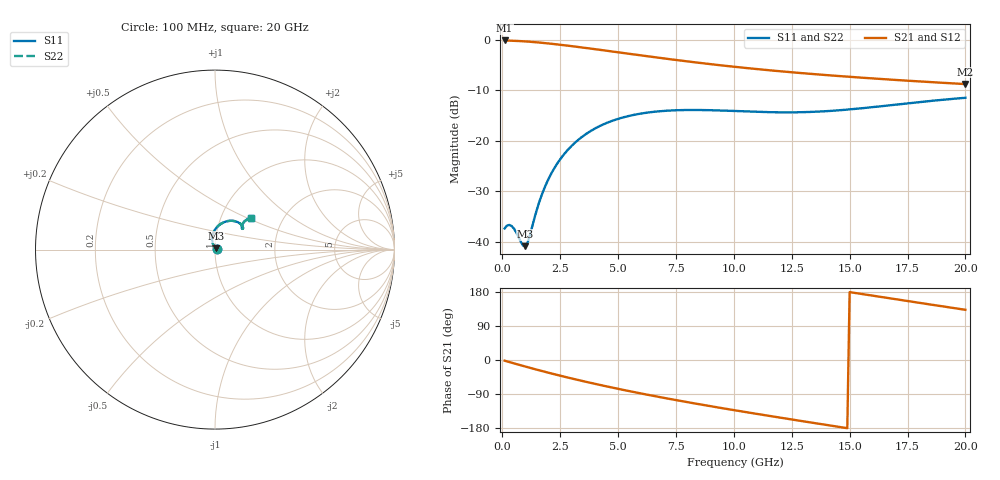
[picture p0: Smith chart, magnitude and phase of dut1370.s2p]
! Touchstone file exported from HFSS 2024.1.0
!  File:  C:/UserFiles/LocalFiles/RDL_TSV_Batchsim/temp_RDL_TSV_1370_1780398488.aedt
!  Generated:  07:21:53 PM Jun  2, 2026
!  Design:  RDL_TSV
!  Project:  temp_RDL_TSV_1370_1780398488
!  Setup:  Setup1
!  Solution:  Sweep
! Variables:
!  dtsv = 7.42um
!  hbump = 3um
!  htsv = 68.45um
!  ldown = 601.88um
!  lrdl = 446.49um
!  p = 40
!  p1 = 41.94um
!  rhole = 10um
!  subl = 3591.6um
!  t = 450um
!  tdown = 3.66um
!  trdl = 4.97um
!  viad = 10um
!  wdown = 29.47um
!  wrdl = 21.51um
!  xbump = 18um
# GHz S MA R 50.000000
! Terminal data exported
! Port[1] = TM1_1_T1
! Port[2] = TM1_4_T1
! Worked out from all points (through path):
!   200 points, 100 MHz to 20 GHz, reference 50 ohm
!   highest |S21| = -0.12 dB at 100 MHz (marker M1); lowest = -8.8 dB at 20 GHz (marker M2)
!   group delay of S21, straight-line fit = 30.2 ps
!   lowest |S11| = -40.9 dB at 1 GHz (marker M3), VSWR 1.02, Z = 50.5 + j0.778 ohm
!   |S11| at or under -10 dB: start of sweep to end of sweep
!   |S22| runs from -40.9 to -11.5 dB; largest |S21 - S12| = 1.6e-14
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0.1  0.01351 7.1  0.9863 -1.8  0.9863 -1.8  0.01351 7.1
! Gamma 0 0 0 0
! Port Impedance 50 0 50 0
0.2  0.01437 9.8  0.9846 -3.6  0.9846 -3.6  0.01437 9.8
0.4  0.01428 11.0  0.9808 -7.1  0.9808 -7.1  0.01428 10.9
0.6  0.01237 15.5  0.9764 -10.6  0.9764 -10.6  0.01237 15.5
0.9  0.009111 42.5  0.9682 -15.7  0.9682 -15.7  0.009109 42.5
1  0.009009 58.8  0.9649 -17.4  0.9649 -17.4  0.009004 58.7
1.1  0.009899 75.1  0.9614 -19.1  0.9614 -19.1  0.009891 75.1
1.5  0.02101 106.4  0.9451 -25.7  0.9451 -25.7  0.02099 106.4
1.7  0.02887 109.4  0.9358 -28.9  0.9358 -28.9  0.02884 109.5
2.1  0.04654 108.4  0.9157 -35.3  0.9157 -35.3  0.04652 108.5
2.7  0.075 101.3  0.883 -44.4  0.883 -44.4  0.07497 101.3
3.5  0.1117 89.7  0.8374 -56.0  0.8374 -56.0  0.1117 89.8
4.2  0.1395 80.0  0.7974 -65.6  0.7974 -65.6  0.1395 80.1
4.9  0.162 71.2  0.7586 -74.8  0.7586 -74.8  0.162 71.3
6.8  0.196 52.6  0.6626 -97.9  0.6626 -97.9  0.1962 52.7
8.4  0.2017 42.6  0.5957 -115.6  0.5957 -115.6  0.202 42.7
10.1  0.1968 37.5  0.5384 -133.3  0.5384 -133.3  0.1971 37.6
11.7  0.1916 37.1  0.4953 -149.2  0.4953 -149.2  0.192 37.1
13.4  0.1933 39.6  0.4585 -165.6  0.4585 -165.6  0.1938 39.6
15  0.2044 42.3  0.43 179.1  0.43 179.1  0.2048 42.3
16.7  0.224 43.8  0.4044 163.1  0.4044 163.1  0.2243 43.7
20  0.2664 41.0  0.3643 132.5  0.3643 132.5  0.2662 40.9
